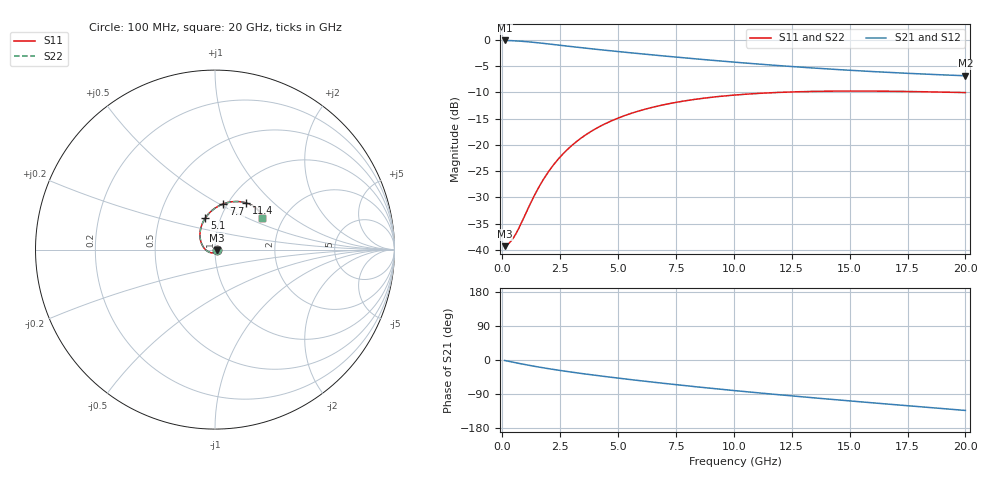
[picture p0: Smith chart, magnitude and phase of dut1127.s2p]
! Touchstone file exported from HFSS 2024.1.0
!  File:  C:/UserFiles/LocalFiles/RDL_TSV_Batchsim/temp_RDL_TSV_1127_1780108910.aedt
!  Generated:  10:54:20 AM May 30, 2026
!  Design:  RDL_TSV
!  Project:  temp_RDL_TSV_1127_1780108910
!  Setup:  Setup1
!  Solution:  Sweep
! Variables:
!  dtsv = 9.22um
!  hbump = 3um
!  htsv = 93.62um
!  ldown = 164.12um
!  lrdl = 227.12um
!  p = 40
!  p1 = 45.56um
!  rhole = 10um
!  subl = 1400.84um
!  t = 450um
!  tdown = 4.44um
!  trdl = 2.94um
!  viad = 10um
!  wdown = 18.84um
!  wrdl = 14.32um
!  xbump = 18um
# GHz S MA R 50.000000
! Terminal data exported
! Port[1] = TM1_1_T1
! Port[2] = TM1_4_T1
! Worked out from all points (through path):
!   200 points, 100 MHz to 20 GHz, reference 50 ohm
!   highest |S21| = -0.10 dB at 100 MHz (marker M1); lowest = -6.8 dB at 20 GHz (marker M2)
!   group delay of S21, straight-line fit = 17.4 ps
!   lowest |S11| = -39.3 dB at 100 MHz (marker M3), VSWR 1.02, Z = 51.1 - j0.253 ohm
!   |S11| at or under -10 dB: start of sweep to 11.9 GHz; 19.72 GHz to end of sweep
!   |S22| runs from -39.3 to -9.7 dB; largest |S21 - S12| = 9.2e-15
!   S11 on the Smith chart (normalised r, x): 100 MHz: 1.02, -0.01; 5.1 GHz: 0.85, +0.31; 7.7 GHz: 0.96, +0.52; 11.4 GHz: 1.20, +0.69; 20 GHz: 1.56, +0.61
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0.1  0.01086 -13.2  0.9889 -1.3  0.9889 -1.3  0.01086 -13.2
! Gamma 0 0 0 0
! Port Impedance 50 0 50 0
0.3  0.01163 -40.1  0.9864 -3.8  0.9864 -3.8  0.01163 -40.1
0.4  0.01232 -53.7  0.9845 -5.1  0.9845 -5.1  0.01232 -53.7
0.6  0.01441 -79.8  0.9794 -7.5  0.9794 -7.5  0.01441 -79.8
1.5  0.03686 -158.6  0.9421 -17.8  0.9421 -17.8  0.03684 -158.6
1.8  0.04789 -174.0  0.9266 -20.9  0.9266 -20.9  0.04787 -174.0
2.1  0.05992 173.4  0.9107 -23.9  0.9107 -23.9  0.05988 173.4
2.4  0.07257 162.8  0.8948 -26.7  0.8948 -26.7  0.07253 162.8
2.7  0.08557 153.7  0.8791 -29.5  0.8791 -29.5  0.08552 153.7
3.1  0.1031 143.2  0.8589 -32.9  0.8589 -32.9  0.103 143.2
3.5  0.1204 134.1  0.8396 -36.2  0.8396 -36.2  0.1203 134.1
4.2  0.1495 120.9  0.8082 -41.8  0.8082 -41.8  0.1494 120.9
5.1  0.1838 107.2  0.7713 -48.5  0.7713 -48.5  0.1836 107.2
5.9  0.2107 97.2  0.7411 -54.3  0.7411 -54.3  0.2105 97.2
6.8  0.2369 87.8  0.7096 -60.4  0.7096 -60.4  0.2367 87.8
7.7  0.2589 79.7  0.6804 -66.4  0.6804 -66.4  0.2587 79.7
8.8  0.2805 71.4  0.6474 -73.3  0.6474 -73.3  0.2803 71.4
10.1  0.2995 63.2  0.6124 -81.2  0.6124 -81.2  0.2992 63.1
11.4  0.3126 56.3  0.5814 -88.6  0.5814 -88.6  0.3123 56.3
13.4  0.3234 48.0  0.5409 -99.6  0.5409 -99.6  0.3231 48.0
16.7  0.3247 38.7  0.4906 -116.6  0.4906 -116.6  0.3243 38.7
20  0.3153 33.9  0.4559 -133.1  0.4559 -133.1  0.3149 33.9
